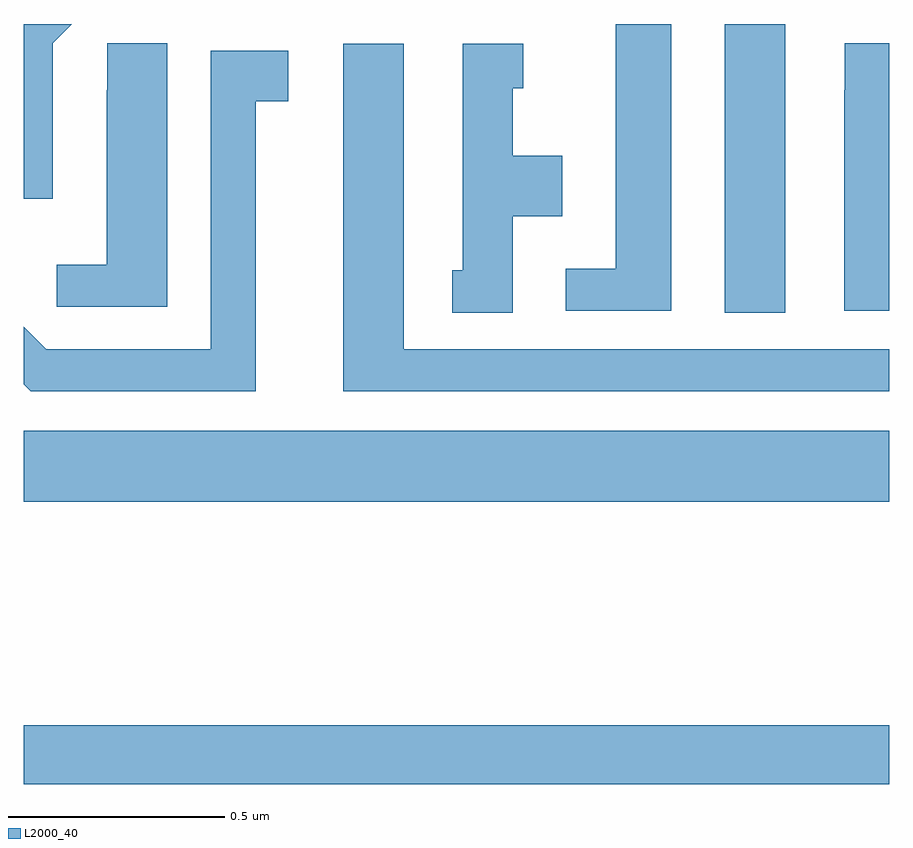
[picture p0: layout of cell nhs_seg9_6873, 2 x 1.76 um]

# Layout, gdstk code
import gdstk
lib = gdstk.Library(unit=1e-6, precision=1e-09)
def R(c, l, rs):  # rectangles x0, y0, x1, y1
    for r in rs: c.add(gdstk.rectangle(r[:2], r[2:], *l))
def P(c, l, *ps):  # polygons
    for p in ps: c.add(gdstk.Polygon(p, *l))
L2000_40 = (2000, 40)

nhs_seg9_6873 = lib.new_cell('nhs_seg9_6873')
R(nhs_seg9_6873, L2000_40, [(197,1219.744,199,1219.88), (197,1220.396,199,1220.56), (198.62,1220.833,198.76,1221.5)])
P(nhs_seg9_6873, L2000_40, [(197.067,1221.456),(197.111,1221.5),(197,1221.5),(197,1221.096),(197.067,1221.096)],
  [(198.496,1221.5),(198.368,1221.5),(198.368,1220.934),(198.252,1220.934),(198.252,1220.838),(198.496,1220.838)],
  [(199,1221.455),(198.897,1221.455),(198.897,1221.347),(198.896,1221.347),(198.896,1220.837),(199,1220.837)],
  [(197.332,1221.455),(197.193,1221.455),(197.193,1221.347),(197.192,1221.347),(197.192,1220.944),(197.076,1220.944),(197.076,1220.847),(197.332,1220.847)],
  [(199,1220.748),(197.878,1220.748),(197.878,1221.454),(197.738,1221.454),(197.738,1220.652),(199,1220.652)],
  [(198.13,1221.056),(198.244,1221.056),(198.244,1221.196),(198.13,1221.196),(198.13,1221.351),(198.154,1221.351),(198.154,1221.454),(198.014,1221.454),(198.014,1220.931),(197.99,1220.931),(197.99,1220.833),(198.13,1220.833)],
  [(197.536,1221.322),(197.611,1221.322),(197.611,1221.438),(197.432,1221.438),(197.432,1220.748),(197.052,1220.748),(197,1220.8),(197,1220.668),(197.016,1220.652),(197.536,1220.652)])

lib.write_gds('nhs_seg9_6873.gds')
